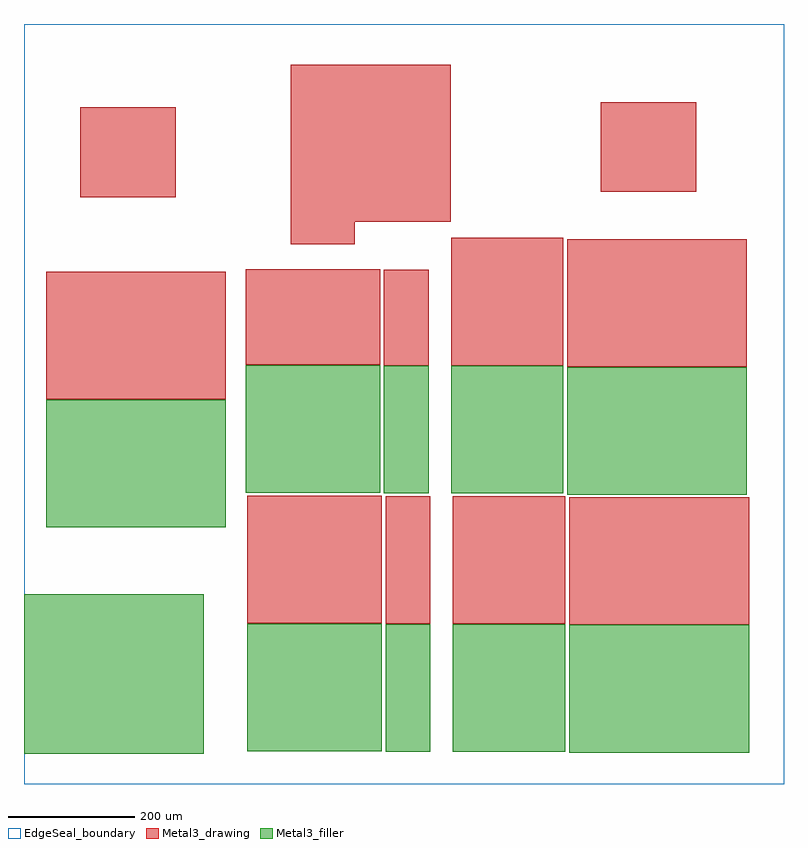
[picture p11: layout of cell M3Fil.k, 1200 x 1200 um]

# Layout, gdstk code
import gdstk
lib = gdstk.Library(unit=1e-6, precision=1e-09)
def R(c, l, rs):  # rectangles x0, y0, x1, y1
    for r in rs: c.add(gdstk.rectangle(r[:2], r[2:], *l))
def A(c, l, x, y, w, h, nx, ny, dx, dy):  # array of equal rectangles
    R(c, l, [(x+i*dx, y+j*dy, x+i*dx+w, y+j*dy+h) for i in range(nx) for j in range(ny)])
Metal3_drawing = (30, 0)
Metal3_filler = (30, 22)
EdgeSeal_boundary = (39, 4)

m3fil_k = lib.new_cell('M3Fil.k')
A(m3fil_k, Metal3_drawing, 861.262, 251.615, 35, 50, 8, 4, 35.5, 50.5)
A(m3fil_k, Metal3_drawing, 570.831, 252.805, 35, 50, 1, 4, 0, 50.5)
A(m3fil_k, Metal3_drawing, 606.331, 252.805, 35, 50, 1, 4, 0, 50.5)
A(m3fil_k, Metal3_drawing, 677.331, 252.805, 35, 50, 5, 4, 35.5, 50.5)
A(m3fil_k, Metal3_drawing, 352.338, 253.671, 35, 50, 6, 4, 35.5, 50.5)
A(m3fil_k, Metal3_drawing, 35.235, 607.475, 35, 50, 8, 4, 35.5, 50.5)
A(m3fil_k, Metal3_drawing, 857.542, 658.918, 35, 50, 8, 4, 35.5, 50.5)
A(m3fil_k, Metal3_drawing, 568.339, 660.777, 35, 50, 1, 3, 0, 50.5)
A(m3fil_k, Metal3_drawing, 603.839, 660.777, 35, 50, 1, 3, 0, 50.5)
A(m3fil_k, Metal3_drawing, 674.839, 660.777, 35, 50, 5, 4, 35.5, 50.5)
A(m3fil_k, Metal3_drawing, 349.846, 661.643, 35, 50, 6, 3, 35.5, 50.5)
A(m3fil_k, Metal3_drawing, 421.515, 887.785, 50, 35, 5, 7, 50.5, 35.5)
A(m3fil_k, Metal3_drawing, 88.995, 926.69, 50, 35, 3, 4, 50.5, 35.5)
A(m3fil_k, Metal3_drawing, 910.625, 935.125, 50, 35, 3, 4, 50.5, 35.5)
R(m3fil_k, Metal3_drawing, [(421.515,852.285,471.515,887.285), (472.015,852.285,522.015,887.285)])
A(m3fil_k, Metal3_filler, 0, 47.575, 35, 50, 8, 5, 35.5, 50.5)
A(m3fil_k, Metal3_filler, 861.262, 49.615, 35, 50, 8, 4, 35.5, 50.5)
A(m3fil_k, Metal3_filler, 570.831, 50.805, 35, 50, 1, 4, 0, 50.5)
A(m3fil_k, Metal3_filler, 606.331, 50.805, 35, 50, 1, 4, 0, 50.5)
A(m3fil_k, Metal3_filler, 677.331, 50.805, 35, 50, 5, 4, 35.5, 50.5)
A(m3fil_k, Metal3_filler, 352.338, 51.671, 35, 50, 6, 4, 35.5, 50.5)
A(m3fil_k, Metal3_filler, 35.235, 405.475, 35, 50, 8, 4, 35.5, 50.5)
A(m3fil_k, Metal3_filler, 857.542, 456.918, 35, 50, 8, 4, 35.5, 50.5)
A(m3fil_k, Metal3_filler, 568.339, 458.777, 35, 50, 1, 4, 0, 50.5)
A(m3fil_k, Metal3_filler, 603.839, 458.777, 35, 50, 1, 4, 0, 50.5)
A(m3fil_k, Metal3_filler, 674.839, 458.777, 35, 50, 5, 4, 35.5, 50.5)
A(m3fil_k, Metal3_filler, 349.846, 459.643, 35, 50, 6, 4, 35.5, 50.5)
R(m3fil_k, EdgeSeal_boundary, [(0,0,1200,1200)])

lib.write_gds('M3Fil.k.gds')
